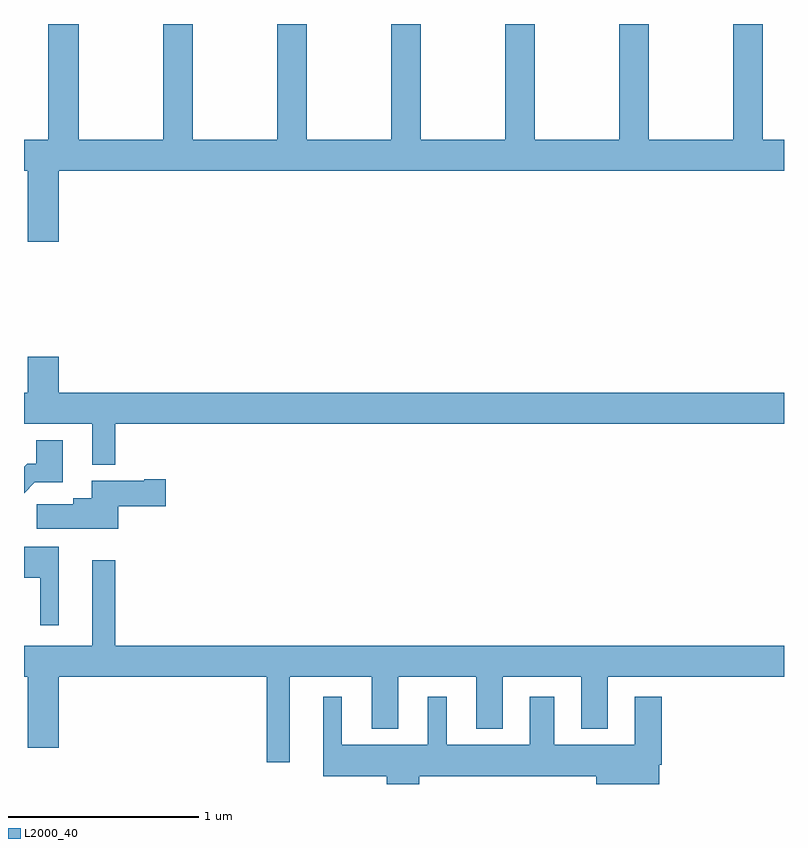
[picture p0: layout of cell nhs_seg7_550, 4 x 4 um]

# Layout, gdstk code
import gdstk
lib = gdstk.Library(unit=1e-6, precision=1e-09)
def P(c, l, *ps):  # polygons
    for p in ps: c.add(gdstk.Polygon(p, *l))
L2000_40 = (2000, 40)

nhs_seg7_550 = lib.new_cell('nhs_seg7_550')
P(nhs_seg7_550, L2000_40, [(153.184,1055.228),(157,1055.228),(157,1055.392),(156.888,1055.392),(156.888,1056),(156.733,1056),(156.733,1055.392),(156.288,1055.392),(156.288,1056),(156.133,1056),(156.133,1055.392),(155.688,1055.392),(155.688,1056),(155.533,1056),(155.533,1055.392),(155.088,1055.392),(155.088,1056),(154.933,1056),(154.933,1055.392),(154.488,1055.392),(154.488,1056),(154.333,1056),(154.333,1055.392),(153.888,1055.392),(153.888,1056),(153.733,1056),(153.733,1055.392),(153.288,1055.392),(153.288,1056),(153.128,1056),(153.128,1055.392),(153,1055.392),(153,1055.228),(153.02,1055.228),(153.02,1054.854),(153.184,1054.854)],
  [(153.481,1053.896),(157,1053.896),(157,1054.06),(153.184,1054.06),(153.184,1054.249),(153.02,1054.249),(153.02,1054.06),(153,1054.06),(153,1053.896),(153.359,1053.896),(153.359,1053.68),(153.481,1053.68)],
  [(153.056,1053.587),(153.205,1053.587),(153.205,1053.808),(153.065,1053.808),(153.065,1053.685),(153.016,1053.685),(153,1053.669),(153,1053.531)],
  [(153.496,1053.461),(153.745,1053.461),(153.745,1053.603),(153.632,1053.603),(153.632,1053.595),(153.356,1053.595),(153.356,1053.505),(153.26,1053.505),(153.26,1053.473),(153.066,1053.473),(153.066,1053.344),(153.496,1053.344)],
  [(153.184,1053.25),(153,1053.25),(153,1053.086),(153.086,1053.086),(153.086,1052.835),(153.184,1052.835)],
  [(154.399,1052.564),(154.829,1052.564),(154.829,1052.291),(154.969,1052.291),(154.969,1052.564),(155.381,1052.564),(155.381,1052.291),(155.521,1052.291),(155.521,1052.564),(155.933,1052.564),(155.933,1052.291),(156.073,1052.291),(156.073,1052.564),(157,1052.564),(157,1052.728),(153.481,1052.728),(153.481,1053.178),(153.359,1053.178),(153.359,1052.728),(153,1052.728),(153,1052.564),(153.02,1052.564),(153.02,1052.19),(153.184,1052.19),(153.184,1052.564),(154.278,1052.564),(154.278,1052.115),(154.399,1052.115)],
  [(155.081,1052.042),(156.011,1052.042),(156.011,1052),(156.343,1052),(156.343,1052.102),(156.356,1052.102),(156.356,1052.458),(156.215,1052.458),(156.215,1052.206),(155.791,1052.206),(155.791,1052.458),(155.663,1052.458),(155.663,1052.206),(155.224,1052.206),(155.224,1052.458),(155.126,1052.458),(155.126,1052.206),(154.672,1052.206),(154.672,1052.458),(154.574,1052.458),(154.574,1052.042),(154.91,1052.042),(154.91,1052),(155.081,1052)])

lib.write_gds('nhs_seg7_550.gds')
